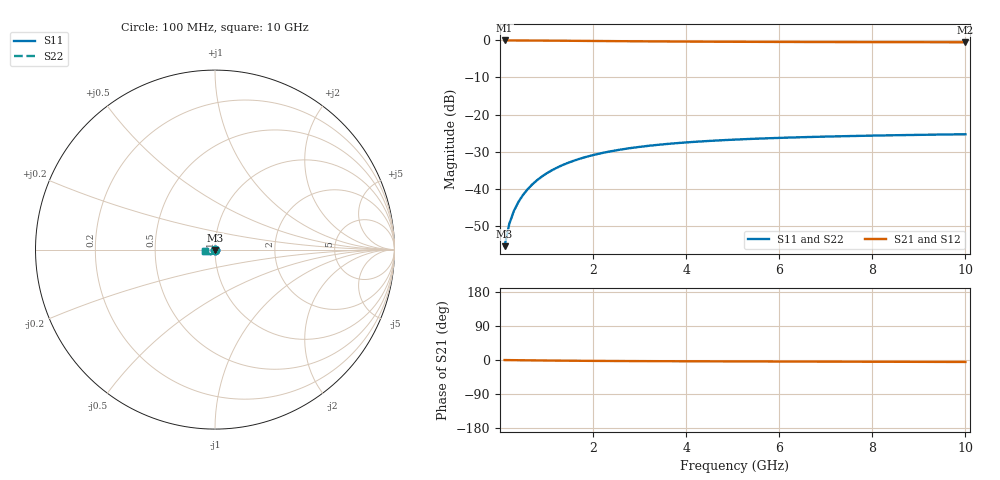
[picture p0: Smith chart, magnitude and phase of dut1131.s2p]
! Touchstone file exported from HFSS 2024.1.0
!  File:  C:/UserFiles/LocalFiles/RDL_TSV_Batchsim/temp_TSV1_1131_1780070036.aedt
!  Generated:  11:58:59 PM May 29, 2026
!  Design:  TSV1
!  Project:  temp_TSV1_1131_1780070036
!  Setup:  Setup1
!  Solution:  Sweep
! Variables:
!  dtsv = 13.81um
!  hbump = 3um
!  htsv = 79.17um
!  lrdl = 252.1521522um
!  p = 40
!  p1 = 56.73um
!  t = 500um
!  trdl = 3um
!  wrdl = 24.89489489um
# GHz S MA R 50.000000
! Terminal data exported
! Port[1] = TSV22_T1
! Port[2] = TSV22_T2
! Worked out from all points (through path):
!   100 points, 100 MHz to 10 GHz, reference 50 ohm
!   highest |S21| = 0.00 dB at 100 MHz (marker M1); lowest = -0.5 dB at 10 GHz (marker M2)
!   lowest |S11| = -55.6 dB at 100 MHz (marker M3), VSWR 1.00, Z = 50 - j0.167 ohm
!   |S11| at or under -10 dB: start of sweep to end of sweep
!   |S22| runs from -55.6 to -25.3 dB; largest |S21 - S12| = 5e-15
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0.1  0.001668 -89.1  0.9999 -0.1  0.9999 -0.1  0.001668 -89.1
! Gamma 0 0 0 0
! Port Impedance 50 0 50 0
0.2  0.003333 -92.3  0.9997 -0.3  0.9997 -0.3  0.003333 -92.3
0.3  0.004994 -94.6  0.9994 -0.4  0.9994 -0.4  0.004994 -94.6
0.4  0.006645 -96.8  0.999 -0.6  0.999 -0.6  0.006644 -96.8
0.5  0.008277 -98.8  0.9985 -0.7  0.9985 -0.7  0.008277 -98.8
0.6  0.009886 -100.8  0.9979 -0.9  0.9979 -0.9  0.009886 -100.8
0.7  0.01147 -102.8  0.9972 -1.0  0.9972 -1.0  0.01147 -102.8
0.8  0.01301 -104.7  0.9964 -1.1  0.9964 -1.1  0.01301 -104.7
0.9  0.01452 -106.5  0.9956 -1.2  0.9956 -1.2  0.01452 -106.5
1.1  0.01743 -110.1  0.9938 -1.5  0.9938 -1.5  0.01743 -110.1
1.4  0.02146 -115.2  0.9907 -1.8  0.9907 -1.8  0.02146 -115.2
1.6  0.02392 -118.4  0.9885 -2.0  0.9885 -2.0  0.02392 -118.4
1.8  0.0262 -121.5  0.9863 -2.2  0.9863 -2.2  0.0262 -121.5
2.1  0.0293 -125.7  0.9829 -2.4  0.9829 -2.4  0.0293 -125.7
2.5  0.03286 -130.8  0.9786 -2.7  0.9786 -2.7  0.03286 -130.8
2.9  0.03587 -135.3  0.9746 -2.9  0.9746 -2.9  0.03587 -135.3
3.4  0.03898 -140.3  0.9701 -3.1  0.9701 -3.1  0.03898 -140.3
4.2  0.04282 -147.1  0.9642 -3.4  0.9642 -3.4  0.04282 -147.1
5.1  0.04598 -153.2  0.959 -3.7  0.959 -3.7  0.04598 -153.2
6.7  0.04977 -161.9  0.9525 -4.2  0.9525 -4.2  0.04977 -161.9
8.4  0.05239 -169.0  0.948 -4.7  0.948 -4.7  0.05238 -169.0
10  0.05413 -174.5  0.9451 -5.2  0.9451 -5.2  0.05413 -174.5
